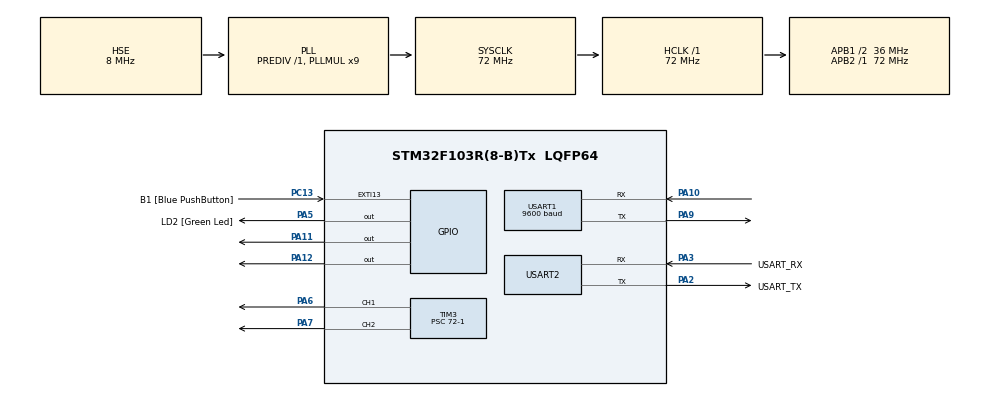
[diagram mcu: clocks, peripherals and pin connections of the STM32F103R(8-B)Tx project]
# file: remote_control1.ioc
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Mcu.Family=STM32F1
Mcu.Name=STM32F103R(8-B)Tx
Mcu.Package=LQFP64
NVIC.EXTI15_10_IRQn=true\:0\:0\:false\:false\:true\:true\:true\:true
NVIC.PriorityGroup=NVIC_PRIORITYGROUP_4
NVIC.USART1_IRQn=true\:0\:0\:false\:false\:true\:true\:true\:true
PA10.Mode=Asynchronous
PA10.Signal=USART1_RX
PA11.Signal=GPIO_Output
PA12.Signal=GPIO_Output
PA13.GPIO_Label=TMS
PA13.Mode=Serial_Wire
PA13.Signal=SYS_JTMS-SWDIO
PA14.GPIO_Label=TCK
PA14.Mode=Serial_Wire
PA14.Signal=SYS_JTCK-SWCLK
PA2.GPIO_Label=USART_TX
PA2.GPIO_Mode=GPIO_MODE_AF_PP
PA2.GPIO_PuPd=GPIO_NOPULL
PA2.GPIO_Speed=GPIO_SPEED_FREQ_LOW
PA2.Mode=Asynchronous
PA2.Signal=USART2_TX
PA3.GPIO_Label=USART_RX
PA3.GPIO_Mode=GPIO_MODE_AF_PP
PA3.GPIO_PuPd=GPIO_NOPULL
PA3.GPIO_Speed=GPIO_SPEED_FREQ_LOW
PA3.Mode=Asynchronous
PA3.Signal=USART2_RX
PA5.GPIO_Label=LD2 [Green Led]
PA5.GPIO_ModeDefaultOutputPP=GPIO_MODE_OUTPUT_PP
PA5.GPIO_PuPd=GPIO_NOPULL
PA5.GPIO_Speed=GPIO_SPEED_FREQ_LOW
PA5.Signal=GPIO_Output
PA6.Signal=S_TIM3_CH1
PA7.Signal=S_TIM3_CH2
PA9.Mode=Asynchronous
PA9.Signal=USART1_TX
PB3.GPIO_Label=SWO
PB3.Signal=SYS_JTDO-TRACESWO
PC13-TAMPER-RTC.GPIO_Label=B1 [Blue PushButton]
PC13-TAMPER-RTC.GPIO_PuPd=GPIO_NOPULL
PC13-TAMPER-RTC.Signal=GPXTI13
PC14-OSC32_IN.Mode=LSE-External-Oscillator
PC14-OSC32_IN.Signal=RCC_OSC32_IN
PC15-OSC32_OUT.Mode=LSE-External-Oscillator
PC15-OSC32_OUT.Signal=RCC_OSC32_OUT
PD0-OSC_IN.Mode=HSE-External-Clock-Source
PD0-OSC_IN.Signal=RCC_OSC_IN
PD1-OSC_OUT.Mode=HSE-External-Clock-Source
PD1-OSC_OUT.Signal=RCC_OSC_OUT
ProjectManager.HeapSize=0x200
ProjectManager.StackSize=0x400
ProjectManager.TargetToolchain=STM32CubeIDE
RCC.AHBFreq_Value=72000000
RCC.APB1CLKDivider=RCC_HCLK_DIV2
RCC.APB1Freq_Value=36000000
RCC.APB1TimFreq_Value=72000000
RCC.APB2Freq_Value=72000000
RCC.APB2TimFreq_Value=72000000
RCC.HCLKFreq_Value=72000000
RCC.PLLMUL=RCC_PLL_MUL9
RCC.PLLSourceVirtual=RCC_PLLSOURCE_HSE
RCC.RTCClockSelection=RCC_RTCCLKSOURCE_LSE
RCC.SYSCLKFreq_VALUE=72000000
RCC.SYSCLKSource=RCC_SYSCLKSOURCE_PLLCLK
RCC.USBFreq_Value=72000000
SH.S_TIM3_CH1.0=TIM3_CH1,PWM Generation1 CH1
SH.S_TIM3_CH2.0=TIM3_CH2,PWM Generation2 CH2
TIM3.Channel-PWM\ Generation1\ CH1=TIM_CHANNEL_1
TIM3.Channel-PWM\ Generation2\ CH2=TIM_CHANNEL_2
TIM3.Period=100-1
TIM3.Prescaler=72-1
USART1.BaudRate=9600
USART1.VirtualMode=VM_ASYNC
USART2.VirtualMode=VM_ASYNC
VP_TIM3_VS_ClockSourceINT.Mode=Internal
board=NUCLEO-F103RB

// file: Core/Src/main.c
/* USER CODE BEGIN Header */
/**
  ******************************************************************************
  * @file           : main.c
  * @brief          : Main program body
  ******************************************************************************
  * @attention
  *
  * Copyright (c) 2025 STMicroelectronics.
  * All rights reserved.
  *
  * This software is licensed under terms that can be found in the LICENSE file
  * in the root directory of this software component.
  * If no LICENSE file comes with this software, it is provided AS-IS.
  *
  ******************************************************************************
  */
/* USER CODE END Header */
#include "main.h"
#include "tim.h"
#include "usart.h"
#include "gpio.h"

/* USER CODE BEGIN PV */
// ?��?�� 버퍼 �??��
char uart_buf[8];
char re_data[8];
int x_data, y_data;
float x_calc, y_calc;
uint32_t PWM1_value, PWM2_value;
/* USER CODE END PV */

void SystemClock_Config(void);

/* USER CODE BEGIN 0 */
// 블루?��?��(UART) ?��?�� ?��?��?��?��
void HAL_UART_RxCpltCallback(UART_HandleTypeDef *huart) {
	if (huart -> Instance == USART1) {
		//
		for (int i = 0; i < 8; i++) {
			if (uart_buf[(i + 7) % 8] == '.') {
				for (int j = 0; j < 8; j++) {
					re_data[j] = uart_buf[(i + j) % 8];
				}
			}
		}

		// ?��?�� �??��
		sscanf(re_data, "%d,%d.", &x_data, &y_data);
		if (y_data == 101)
			y_data = 100;

		x_data = x_data - 50;
		y_data = y_data - 50;

		// ?��?�� 차동 구동 코드
		if (x_data >= 0 && y_data >= 0) {
			x_calc = (float)x_data ;
			PWM1_value = (uint32_t)x_calc;
			y_calc = (float)x_data  * (100 - (float)y_data) / 100;
			PWM2_value = (uint32_t)y_calc;
			HAL_GPIO_WritePin(GPIOA, GPIO_PIN_11, 0);
			HAL_GPIO_WritePin(GPIOA, GPIO_PIN_12, 0);
			__HAL_TIM_SET_COMPARE(&htim3,TIM_CHANNEL_1, PWM2_value);
			__HAL_TIM_SET_COMPARE(&htim3,TIM_CHANNEL_2, PWM1_value);
		}
		else if (x_data >= 0 && y_data < 0) {
			x_calc = (float)x_data  * (100 + (float)y_data) / 100;
			PWM1_value = (uint32_t)x_calc;
			y_calc = (float)x_data ;
			PWM2_value = (uint32_t)y_calc;
			HAL_GPIO_WritePin(GPIOA, GPIO_PIN_11, 0);
			HAL_GPIO_WritePin(GPIOA, GPIO_PIN_12, 0);
			__HAL_TIM_SET_COMPARE(&htim3,TIM_CHANNEL_1, PWM2_value);
			__HAL_TIM_SET_COMPARE(&htim3,TIM_CHANNEL_2, PWM1_value);
		}
		else if (x_data < 0 && y_data >= 0) {
			x_calc = fabsf((float)x_data) ;
			PWM1_value = (uint32_t)x_calc;
			y_calc = fabsf((float)x_data)* (100 - (float)y_data) / 100;
			PWM2_value = (uint32_t)y_calc;
			HAL_GPIO_WritePin(GPIOA, GPIO_PIN_11, 1);
			HAL_GPIO_WritePin(GPIOA, GPIO_PIN_12, 1);
			__HAL_TIM_SET_COMPARE(&htim3,TIM_CHANNEL_1, PWM2_value);
			__HAL_TIM_SET_COMPARE(&htim3,TIM_CHANNEL_2, PWM1_value);
		}
		else if (x_data < 0 && y_data < 0) {
			x_calc = fabsf((float)x_data) * (100 + (float)y_data) / 100;
			PWM1_value = (uint32_t)x_calc;
			y_calc = fabsf((float)x_data);
			PWM2_value = (uint32_t)y_calc;
			HAL_GPIO_WritePin(GPIOA, GPIO_PIN_11, 1);
			HAL_GPIO_WritePin(GPIOA, GPIO_PIN_12, 1);
			__HAL_TIM_SET_COMPARE(&htim3,TIM_CHANNEL_1, PWM2_value);
			__HAL_TIM_SET_COMPARE(&htim3,TIM_CHANNEL_2, PWM1_value);
		}

		// ?��?�� ?��?�� 받을 �?�?
		HAL_UART_Receive_IT(&huart1, &uart_buf, 8);
	}
}
/* USER CODE END 0 */

int main(void)
{

  /* MCU Configuration--------------------------------------------------------*/

  /* Reset of all peripherals, Initializes the Flash interface and the Systick. */
  HAL_Init();

  /* Configure the system clock */
  SystemClock_Config();

  /* Initialize all configured peripherals */
  MX_GPIO_Init();
  MX_USART2_UART_Init();
  MX_TIM3_Init();
  MX_USART1_UART_Init();

  HAL_TIM_PWM_Start(&htim3, TIM_CHANNEL_1);
  HAL_TIM_PWM_Start(&htim3, TIM_CHANNEL_2);

  HAL_UART_Receive_IT(&huart1, &uart_buf, 8);

  /* Infinite loop */
  while (1)
  {

  }
}

void SystemClock_Config(void)
{
  RCC_OscInitTypeDef RCC_OscInitStruct = {0};
  RCC_ClkInitTypeDef RCC_ClkInitStruct = {0};

  /** Initializes the RCC Oscillators according to the specified parameters
  * in the RCC_OscInitTypeDef structure.
  */
  RCC_OscInitStruct.OscillatorType = RCC_OSCILLATORTYPE_HSE;
  RCC_OscInitStruct.HSEState = RCC_HSE_BYPASS;
  RCC_OscInitStruct.HSEPredivValue = RCC_HSE_PREDIV_DIV1;
  RCC_OscInitStruct.HSIState = RCC_HSI_ON;
  RCC_OscInitStruct.PLL.PLLState = RCC_PLL_ON;
  RCC_OscInitStruct.PLL.PLLSource = RCC_PLLSOURCE_HSE;
  RCC_OscInitStruct.PLL.PLLMUL = RCC_PLL_MUL9;
  if (HAL_RCC_OscConfig(&RCC_OscInitStruct) != HAL_OK)
  {
    Error_Handler();
  }

  /** Initializes the CPU, AHB and APB buses clocks
  */
  RCC_ClkInitStruct.ClockType = RCC_CLOCKTYPE_HCLK|RCC_CLOCKTYPE_SYSCLK
                              |RCC_CLOCKTYPE_PCLK1|RCC_CLOCKTYPE_PCLK2;
  RCC_ClkInitStruct.SYSCLKSource = RCC_SYSCLKSOURCE_PLLCLK;
  RCC_ClkInitStruct.AHBCLKDivider = RCC_SYSCLK_DIV1;
  RCC_ClkInitStruct.APB1CLKDivider = RCC_HCLK_DIV2;
  RCC_ClkInitStruct.APB2CLKDivider = RCC_HCLK_DIV1;

  if (HAL_RCC_ClockConfig(&RCC_ClkInitStruct, FLASH_LATENCY_2) != HAL_OK)
  {
    Error_Handler();
  }
}

void Error_Handler(void)
{
  __disable_irq();
  while (1)
  {
  }
}
